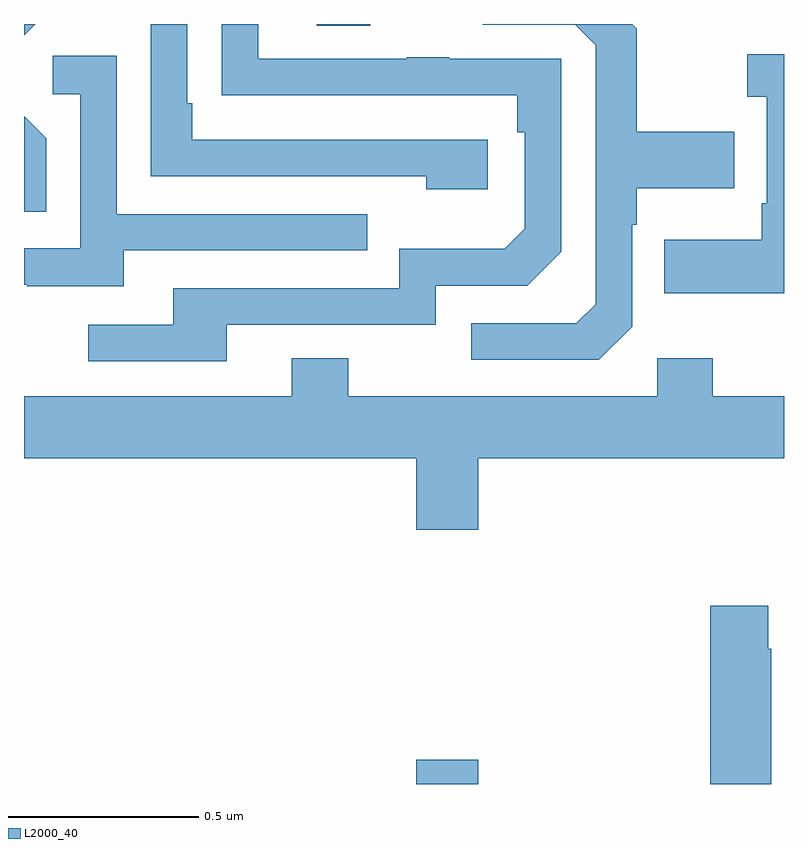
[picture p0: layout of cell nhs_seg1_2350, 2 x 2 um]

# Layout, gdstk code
import gdstk
lib = gdstk.Library(unit=1e-6, precision=1e-09)
def R(c, l, rs):  # rectangles x0, y0, x1, y1
    for r in rs: c.add(gdstk.rectangle(r[:2], r[2:], *l))
def P(c, l, *ps):  # polygons
    for p in ps: c.add(gdstk.Polygon(p, *l))
L2000_40 = (2000, 40)

nhs_seg1_2350 = lib.new_cell('nhs_seg1_2350')
R(nhs_seg1_2350, L2000_40, [(141.032,560.199,141.196,560.263), (140.771,562.194,140.911,562.199)])
P(nhs_seg1_2350, L2000_40, [(141.6,561.402),(141.6,561.671),(141.613,561.671),(141.613,561.767),(141.869,561.767),(141.869,561.915),(141.613,561.915),(141.613,562.187),(141.601,562.199),(141.207,562.199),(141.207,562.197),(141.45,562.197),(141.504,562.143),(141.504,561.462),(141.453,561.411),(141.177,561.411),(141.177,561.315),(141.513,561.315)],
  [(140.533,561.408),(141.084,561.408),(141.084,561.51),(141.324,561.51),(141.414,561.6),(141.414,562.107),(141.119,562.107),(141.119,562.112),(141.007,562.112),(141.007,562.107),(140.617,562.107),(140.617,562.199),(140.521,562.199),(140.521,562.012),(140.623,562.012),(140.623,562.011),(141.298,562.011),(141.298,561.914),(141.318,561.914),(141.318,561.66),(141.265,561.607),(140.988,561.607),(140.988,561.504),(140.393,561.504),(140.393,561.408),(140.169,561.408),(140.169,561.312),(140.533,561.312)],
  [(140.03,562.199),(140,562.199),(140,562.169)],
  [(141.22,561.894),(140.443,561.894),(140.443,561.991),(140.43,561.991),(140.43,562.199),(140.334,562.199),(140.334,561.798),(141.059,561.798),(141.059,561.764),(141.22,561.764)],
  [(142,562.12),(141.903,562.12),(141.903,562.007),(141.954,562.007),(141.954,561.727),(141.942,561.727),(141.942,561.631),(141.685,561.631),(141.685,561.491),(142,561.491)],
  [(140.263,561.603),(140.903,561.603),(140.903,561.699),(140.244,561.699),(140.244,562.115),(140.076,562.115),(140.076,562.014),(140.148,562.014),(140.148,561.609),(140,561.609),(140,561.513),(140.009,561.513),(140.009,561.509),(140.263,561.509)],
  [(140.058,561.898),(140,561.956),(140,561.705),(140.058,561.705)],
  [(141.196,561.056),(142,561.056),(142,561.22),(141.813,561.22),(141.813,561.319),(141.666,561.319),(141.666,561.22),(140.853,561.22),(140.853,561.319),(140.705,561.319),(140.705,561.22),(140,561.22),(140,561.056),(141.032,561.056),(141.032,560.868),(141.196,560.868)],
  [(141.966,560.555),(141.959,560.555),(141.959,560.668),(141.806,560.668),(141.806,560.199),(141.966,560.199)])

lib.write_gds('nhs_seg1_2350.gds')
